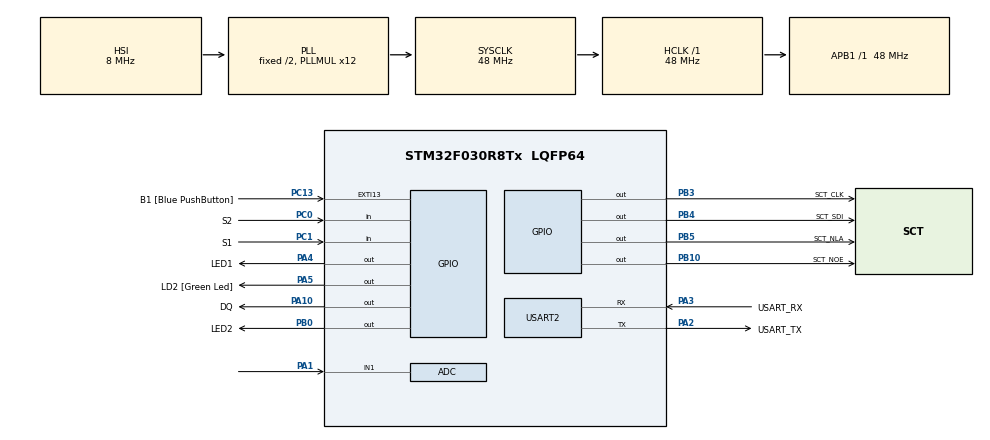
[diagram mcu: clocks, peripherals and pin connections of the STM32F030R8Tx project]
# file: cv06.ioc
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ADC.ContinuousConvMode=ENABLE
ADC.Overrun=ADC_OVR_DATA_OVERWRITTEN
ADC.Resolution=ADC_RESOLUTION_10B
Mcu.Family=STM32F0
Mcu.Name=STM32F030R8Tx
Mcu.Package=LQFP64
PA1.Mode=IN1
PA1.Signal=ADC_IN1
PA10.GPIO_Label=DQ
PA10.GPIO_ModeDefaultOutputPP=GPIO_MODE_OUTPUT_OD
PA10.GPIO_PuPd=GPIO_NOPULL
PA10.PinState=GPIO_PIN_SET
PA10.Signal=GPIO_Output
PA13.GPIO_Label=TMS
PA13.Mode=Serial_Wire
PA13.Signal=SYS_SWDIO
PA14.GPIO_Label=TCK
PA14.Mode=Serial_Wire
PA14.Signal=SYS_SWCLK
PA2.GPIO_Label=USART_TX
PA2.GPIO_Mode=GPIO_MODE_AF_PP
PA2.GPIO_PuPd=GPIO_NOPULL
PA2.GPIO_Speed=GPIO_SPEED_FREQ_LOW
PA2.Mode=Asynchronous
PA2.Signal=USART2_TX
PA3.GPIO_Label=USART_RX
PA3.GPIO_Mode=GPIO_MODE_AF_PP
PA3.GPIO_PuPd=GPIO_NOPULL
PA3.GPIO_Speed=GPIO_SPEED_FREQ_LOW
PA3.Mode=Asynchronous
PA3.Signal=USART2_RX
PA4.GPIO_Label=LED1
PA4.Signal=GPIO_Output
PA5.GPIO_Label=LD2 [Green Led]
PA5.GPIO_Mode=GPIO_MODE_OUTPUT_PP
PA5.GPIO_PuPd=GPIO_NOPULL
PA5.GPIO_Speed=GPIO_SPEED_FREQ_LOW
PA5.Signal=GPIO_Output
PB0.GPIO_Label=LED2
PB0.Signal=GPIO_Output
PB10.GPIO_Label=SCT_NOE
PB10.Signal=GPIO_Output
PB3.GPIO_Label=SCT_CLK
PB3.Signal=GPIO_Output
PB4.GPIO_Label=SCT_SDI
PB4.Signal=GPIO_Output
PB5.GPIO_Label=SCT_NLA
PB5.Signal=GPIO_Output
PC0.GPIO_Label=S2
PC0.GPIO_PuPd=GPIO_PULLUP
PC0.Signal=GPIO_Input
PC1.GPIO_Label=S1
PC1.GPIO_PuPd=GPIO_PULLUP
PC1.Signal=GPIO_Input
PC13.GPIO_Label=B1 [Blue PushButton]
PC13.GPIO_ModeDefaultEXTI=GPIO_MODE_IT_FALLING
PC13.Signal=GPXTI13
PC14-OSC32_IN.Mode=LSE-External-Oscillator
PC14-OSC32_IN.Signal=RCC_OSC32_IN
PC15-OSC32_OUT.Mode=LSE-External-Oscillator
PC15-OSC32_OUT.Signal=RCC_OSC32_OUT
PF0-OSC_IN.Mode=HSE-External-Clock-Source
PF0-OSC_IN.Signal=RCC_OSC_IN
PF1-OSC_OUT.Signal=RCC_OSC_OUT
ProjectManager.HeapSize=0x200
ProjectManager.StackSize=0x400
ProjectManager.TargetToolchain=STM32CubeIDE
RCC.AHBFreq_Value=48000000
RCC.APB1Freq_Value=48000000
RCC.APB1TimFreq_Value=48000000
RCC.HCLKFreq_Value=48000000
RCC.PLLMUL=RCC_PLL_MUL12
RCC.SYSCLKFreq_VALUE=48000000
RCC.SYSCLKSource=RCC_SYSCLKSOURCE_PLLCLK
USART2.VirtualMode-Asynchronous=VM_ASYNC
board=NUCLEO-F030R8

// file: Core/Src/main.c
/* USER CODE BEGIN Header */
/**
  ******************************************************************************
  * @file           : main.c
  * @brief          : Main program body
  ******************************************************************************
  * @attention
  *
  * Copyright (c) 2025 STMicroelectronics.
  * All rights reserved.
  *
  * This software is licensed under terms that can be found in the LICENSE file
  * in the root directory of this software component.
  * If no LICENSE file comes with this software, it is provided AS-IS.
  *
  ******************************************************************************
  */
/* USER CODE END Header */
#include "main.h"

/* USER CODE BEGIN Includes */
#include "sct.h"
#include "1wire.h"
#include <stdint.h>
/* USER CODE END Includes */

/* USER CODE BEGIN PD */

#define CONVERT_T_DELAY 750

/* USER CODE END PD */

ADC_HandleTypeDef hadc;

UART_HandleTypeDef huart2;

/* USER CODE BEGIN PV */

static const int16_t ntc_table[1024] = {
    #include "data.dlm"
};

/* USER CODE END PV */

void SystemClock_Config(void);
static void MX_GPIO_Init(void);
static void MX_USART2_UART_Init(void);
static void MX_ADC_Init(void);

int main(void)
{

  /* MCU Configuration--------------------------------------------------------*/

  /* Reset of all peripherals, Initializes the Flash interface and the Systick. */
  HAL_Init();

  /* Configure the system clock */
  SystemClock_Config();

  /* Initialize all configured peripherals */
  MX_GPIO_Init();
  MX_USART2_UART_Init();
  MX_ADC_Init();
  /* USER CODE BEGIN 2 */

  sct_init();
  OWInit();

  HAL_ADCEx_Calibration_Start(&hadc);
  HAL_ADC_Start(&hadc);

  /* USER CODE END 2 */

  /* Infinite loop */
  /* USER CODE BEGIN WHILE */
  while (1)
  {

	  uint16_t value = 0;
	  uint8_t  led   = 4;

	  uint16_t ad = HAL_ADC_GetValue(&hadc);
	  int16_t t10 = ntc_table[ad];

	  static uint8_t  running = 0;
	  static uint32_t start = 0;
	  static uint16_t last_temp = 0;

	  uint32_t now = HAL_GetTick();

	  // new conversion
	  if (!running ) {
		  OWConvertAll();
		  running = 1;
		  start = now;
	  }

	  // read conversion
	  if (running && (now - start) >= 750) {
		  int16_t t100;
		  if (OWReadTemperature(&t100)) {
			  int16_t t10 = (t100 >= 0) ? (t100 + 5) / 10 : (t100 - 5) / 10;

			  last_temp = t10;
		  }

		  running = 0;

	  }

	  static enum { SHOW_18B20, SHOW_NTC } state = SHOW_NTC;

	  if ((HAL_GPIO_ReadPin(S1_GPIO_Port, S1_Pin) == GPIO_PIN_RESET)){
		  state = SHOW_18B20;
		  HAL_GPIO_WritePin(LED2_GPIO_Port, LED2_Pin, GPIO_PIN_SET);
		  HAL_GPIO_WritePin(LED1_GPIO_Port, LED1_Pin, GPIO_PIN_RESET);
	  }

	  else if (HAL_GPIO_ReadPin(S2_GPIO_Port, S2_Pin) == GPIO_PIN_RESET){
		  state = SHOW_NTC;
		  HAL_GPIO_WritePin(LED1_GPIO_Port, LED1_Pin, GPIO_PIN_SET);
		  HAL_GPIO_WritePin(LED2_GPIO_Port, LED2_Pin, GPIO_PIN_RESET);
	  }

	  switch (state)
	  {
	  case SHOW_18B20:
		  value = last_temp;
		  break;

	  case SHOW_NTC:
		  value = t10;
		  HAL_Delay(100);
		  break;
	  }

	  sct_value(value, led);

    /* USER CODE END WHILE */

  }
}

void SystemClock_Config(void)
{
  RCC_OscInitTypeDef RCC_OscInitStruct = {0};
  RCC_ClkInitTypeDef RCC_ClkInitStruct = {0};

  /** Initializes the RCC Oscillators according to the specified parameters
  * in the RCC_OscInitTypeDef structure.
  */
  RCC_OscInitStruct.OscillatorType = RCC_OSCILLATORTYPE_HSI|RCC_OSCILLATORTYPE_HSI14;
  RCC_OscInitStruct.HSIState = RCC_HSI_ON;
  RCC_OscInitStruct.HSI14State = RCC_HSI14_ON;
  RCC_OscInitStruct.HSICalibrationValue = RCC_HSICALIBRATION_DEFAULT;
  RCC_OscInitStruct.HSI14CalibrationValue = 16;
  RCC_OscInitStruct.PLL.PLLState = RCC_PLL_ON;
  RCC_OscInitStruct.PLL.PLLSource = RCC_PLLSOURCE_HSI;
  RCC_OscInitStruct.PLL.PLLMUL = RCC_PLL_MUL12;
  RCC_OscInitStruct.PLL.PREDIV = RCC_PREDIV_DIV1;
  if (HAL_RCC_OscConfig(&RCC_OscInitStruct) != HAL_OK)
  {
    Error_Handler();
  }

  /** Initializes the CPU, AHB and APB buses clocks
  */
  RCC_ClkInitStruct.ClockType = RCC_CLOCKTYPE_HCLK|RCC_CLOCKTYPE_SYSCLK
                              |RCC_CLOCKTYPE_PCLK1;
  RCC_ClkInitStruct.SYSCLKSource = RCC_SYSCLKSOURCE_PLLCLK;
  RCC_ClkInitStruct.AHBCLKDivider = RCC_SYSCLK_DIV1;
  RCC_ClkInitStruct.APB1CLKDivider = RCC_HCLK_DIV1;

  if (HAL_RCC_ClockConfig(&RCC_ClkInitStruct, FLASH_LATENCY_1) != HAL_OK)
  {
    Error_Handler();
  }
}

static void MX_ADC_Init(void)
{

  ADC_ChannelConfTypeDef sConfig = {0};

  /** Configure the global features of the ADC (Clock, Resolution, Data Alignment and number of conversion)
  */
  hadc.Instance = ADC1;
  hadc.Init.ClockPrescaler = ADC_CLOCK_ASYNC_DIV1;
  hadc.Init.Resolution = ADC_RESOLUTION_10B;
  hadc.Init.DataAlign = ADC_DATAALIGN_RIGHT;
  hadc.Init.ScanConvMode = ADC_SCAN_DIRECTION_FORWARD;
  hadc.Init.EOCSelection = ADC_EOC_SINGLE_CONV;
  hadc.Init.LowPowerAutoWait = DISABLE;
  hadc.Init.LowPowerAutoPowerOff = DISABLE;
  hadc.Init.ContinuousConvMode = ENABLE;
  hadc.Init.DiscontinuousConvMode = DISABLE;
  hadc.Init.ExternalTrigConv = ADC_SOFTWARE_START;
  hadc.Init.ExternalTrigConvEdge = ADC_EXTERNALTRIGCONVEDGE_NONE;
  hadc.Init.DMAContinuousRequests = DISABLE;
  hadc.Init.Overrun = ADC_OVR_DATA_OVERWRITTEN;
  if (HAL_ADC_Init(&hadc) != HAL_OK)
  {
    Error_Handler();
  }

  /** Configure for the selected ADC regular channel to be converted.
  */
  sConfig.Channel = ADC_CHANNEL_1;
  sConfig.Rank = ADC_RANK_CHANNEL_NUMBER;
  sConfig.SamplingTime = ADC_SAMPLETIME_1CYCLE_5;
  if (HAL_ADC_ConfigChannel(&hadc, &sConfig) != HAL_OK)
  {
    Error_Handler();
  }

}

static void MX_USART2_UART_Init(void)
{

  huart2.Instance = USART2;
  huart2.Init.BaudRate = 38400;
  huart2.Init.WordLength = UART_WORDLENGTH_8B;
  huart2.Init.StopBits = UART_STOPBITS_1;
  huart2.Init.Parity = UART_PARITY_NONE;
  huart2.Init.Mode = UART_MODE_TX_RX;
  huart2.Init.HwFlowCtl = UART_HWCONTROL_NONE;
  huart2.Init.OverSampling = UART_OVERSAMPLING_16;
  huart2.Init.OneBitSampling = UART_ONE_BIT_SAMPLE_DISABLE;
  huart2.AdvancedInit.AdvFeatureInit = UART_ADVFEATURE_NO_INIT;
  if (HAL_UART_Init(&huart2) != HAL_OK)
  {
    Error_Handler();
  }

}

static void MX_GPIO_Init(void)
{
  GPIO_InitTypeDef GPIO_InitStruct = {0};

  /* GPIO Ports Clock Enable */
  __HAL_RCC_GPIOC_CLK_ENABLE();
  __HAL_RCC_GPIOF_CLK_ENABLE();
  __HAL_RCC_GPIOA_CLK_ENABLE();
  __HAL_RCC_GPIOB_CLK_ENABLE();

  /*Configure GPIO pin Output Level */
  HAL_GPIO_WritePin(GPIOA, LED1_Pin|LD2_Pin, GPIO_PIN_RESET);

  /*Configure GPIO pin Output Level */
  HAL_GPIO_WritePin(GPIOB, LED2_Pin|SCT_NOE_Pin|SCT_CLK_Pin|SCT_SDI_Pin
                          |SCT_NLA_Pin, GPIO_PIN_RESET);

  /*Configure GPIO pin Output Level */
  HAL_GPIO_WritePin(DQ_GPIO_Port, DQ_Pin, GPIO_PIN_SET);

  /*Configure GPIO pin : B1_Pin */
  GPIO_InitStruct.Pin = B1_Pin;
  GPIO_InitStruct.Mode = GPIO_MODE_IT_FALLING;
  GPIO_InitStruct.Pull = GPIO_NOPULL;
  HAL_GPIO_Init(B1_GPIO_Port, &GPIO_InitStruct);

  /*Configure GPIO pins : S2_Pin S1_Pin */
  GPIO_InitStruct.Pin = S2_Pin|S1_Pin;
  GPIO_InitStruct.Mode = GPIO_MODE_INPUT;
  GPIO_InitStruct.Pull = GPIO_PULLUP;
  HAL_GPIO_Init(GPIOC, &GPIO_InitStruct);

  /*Configure GPIO pins : LED1_Pin LD2_Pin */
  GPIO_InitStruct.Pin = LED1_Pin|LD2_Pin;
  GPIO_InitStruct.Mode = GPIO_MODE_OUTPUT_PP;
  GPIO_InitStruct.Pull = GPIO_NOPULL;
  GPIO_InitStruct.Speed = GPIO_SPEED_FREQ_LOW;
  HAL_GPIO_Init(GPIOA, &GPIO_InitStruct);

  /*Configure GPIO pins : LED2_Pin SCT_NOE_Pin SCT_CLK_Pin SCT_SDI_Pin
                           SCT_NLA_Pin */
  GPIO_InitStruct.Pin = LED2_Pin|SCT_NOE_Pin|SCT_CLK_Pin|SCT_SDI_Pin
                          |SCT_NLA_Pin;
  GPIO_InitStruct.Mode = GPIO_MODE_OUTPUT_PP;
  GPIO_InitStruct.Pull = GPIO_NOPULL;
  GPIO_InitStruct.Speed = GPIO_SPEED_FREQ_LOW;
  HAL_GPIO_Init(GPIOB, &GPIO_InitStruct);

  /*Configure GPIO pin : DQ_Pin */
  GPIO_InitStruct.Pin = DQ_Pin;
  GPIO_InitStruct.Mode = GPIO_MODE_OUTPUT_OD;
  GPIO_InitStruct.Pull = GPIO_NOPULL;
  GPIO_InitStruct.Speed = GPIO_SPEED_FREQ_LOW;
  HAL_GPIO_Init(DQ_GPIO_Port, &GPIO_InitStruct);

}

void Error_Handler(void)
{
  __disable_irq();
  while (1)
  {
  }
}
